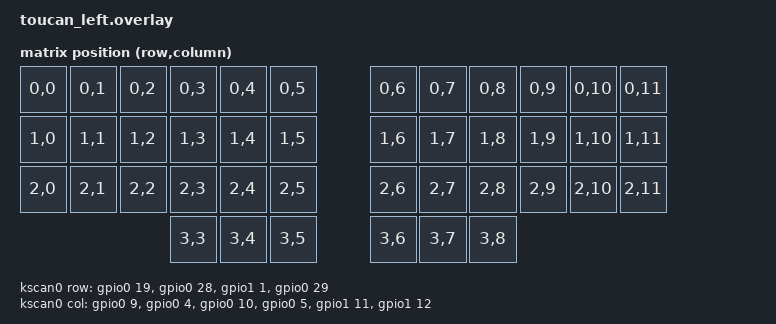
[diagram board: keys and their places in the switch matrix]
#include <input/processors.dtsi>
#include <dt-bindings/zmk/input_transform.h>
#include <dt-bindings/zmk/matrix_transform.h>

&pinctrl {
    spi0_default: spi0_default {
        group1 {
            psels = <NRF_PSEL(SPIM_SCK, 1, 13)>,
                <NRF_PSEL(SPIM_MOSI, 1, 15)>,
                <NRF_PSEL(SPIM_MISO, 1, 14)>;
        };
    };

     spi0_sleep: spi0_sleep {
        group1 {
            psels = <NRF_PSEL(SPIM_SCK, 1, 13)>,
                    <NRF_PSEL(SPIM_MOSI, 1, 15)>,
                    <NRF_PSEL(SPIM_MISO, 1, 14)>;
            low-power-enable;
        };
    };

};

nice_view_spi: &spi0 {
   compatible = "nordic,nrf-spim";
   pinctrl-0 = <&spi0_default>;
   pinctrl-1 = <&spi0_sleep>;
   pinctrl-names = "default", "sleep";
   cs-gpios = <&gpio0 3 GPIO_ACTIVE_HIGH>;
};

&xiao_i2c {
    status = "disabled";
};

/ {
    chosen {
        zmk,kscan = &kscan0;
        zmk,physical-layout = &physical_layout0;
    };

    kscan0: kscan_0 {
        compatible = "zmk,kscan-gpio-matrix";
        diode-direction = "col2row";
        wakeup-source;

        col-gpios
        = <&gpio0 9 GPIO_ACTIVE_HIGH>
        , <&gpio0 4 GPIO_ACTIVE_HIGH>
        , <&gpio0 10 GPIO_ACTIVE_HIGH>
        , <&gpio0 5 GPIO_ACTIVE_HIGH>
        , <&gpio1 11 GPIO_ACTIVE_HIGH>
        , <&gpio1 12 GPIO_ACTIVE_HIGH>
        ;

        row-gpios
        = <&gpio0 19 (GPIO_ACTIVE_HIGH | GPIO_PULL_DOWN)>
        , <&gpio0 28 (GPIO_ACTIVE_HIGH | GPIO_PULL_DOWN)>
        , <&gpio1 1 (GPIO_ACTIVE_HIGH | GPIO_PULL_DOWN)>
        , <&gpio0 29 (GPIO_ACTIVE_HIGH | GPIO_PULL_DOWN)>
        ;
    };

    default_transform: keymap_transform_0 {
        compatible = "zmk,matrix-transform";
        columns = <12>;
        rows = <4>;
        // | SW1  | SW2  | SW3  | SW4  | SW5  | SW6  |   | SW6  | SW5  | SW4  | SW3  | SW2  | SW1  |
        // | SW7  | SW8  | SW9  | SW10 | SW11 | SW12 |   | SW12 | SW11 | SW10 | SW9  | SW8  | SW7  |
        // | SW13 | SW14 | SW15 | SW16 | SW17 | SW18 |   | SW18 | SW17 | SW16 | SW15 | SW14 | SW13 |
        //                      | SW19 | SW20 | SW21 |   | SW21 | SW20 | SW19 |
                map = < RC(0,0) RC(0,1) RC(0,2) RC(0,3) RC(0,4) RC(0,5)  RC(0,6) RC(0,7) RC(0,8) RC(0,9) RC(0,10) RC(0,11)
        RC(1,0) RC(1,1) RC(1,2) RC(1,3) RC(1,4) RC(1,5)  RC(1,6) RC(1,7) RC(1,8) RC(1,9) RC(1,10) RC(1,11)
        RC(2,0) RC(2,1) RC(2,2) RC(2,3) RC(2,4) RC(2,5)  RC(2,6) RC(2,7) RC(2,8) RC(2,9) RC(2,10) RC(2,11)
                                RC(3,3) RC(3,4) RC(3,5)  RC(3,6) RC(3,7) RC(3,8)
        >;
    };

    physical_layout0: physical_layout_0 {
        compatible = "zmk,physical-layout";
        display-name = "Default Layout";
        transform = <&default_transform>;
    };
};
